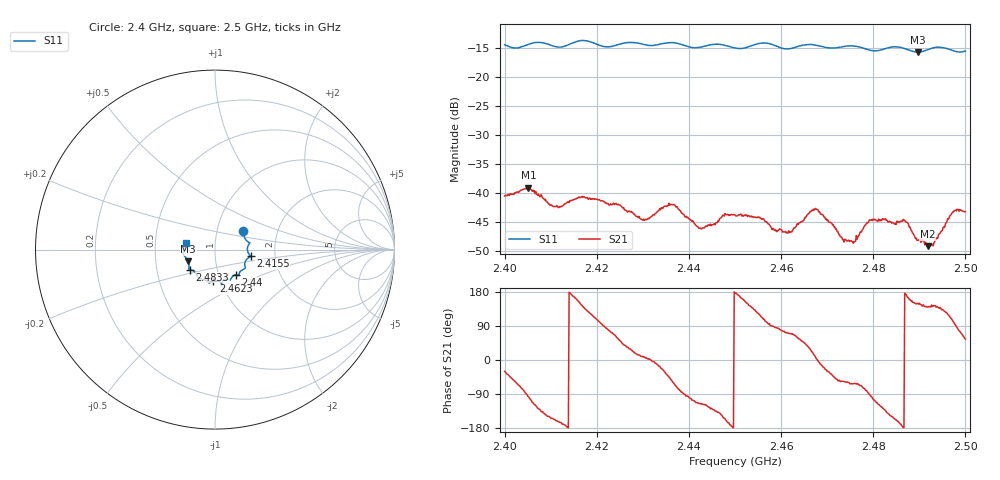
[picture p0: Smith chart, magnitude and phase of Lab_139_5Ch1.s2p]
# Hz S RI R 50
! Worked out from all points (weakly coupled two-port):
!   601 points, 2.4 GHz to 2.5 GHz, reference 50 ohm
!   highest |S21| = -39.07 dB at 2.4052 GHz (marker M1); lowest = -49.1 dB at 2.4918 GHz (marker M2)
!   lowest |S11| = -15.7 dB at 2.4897 GHz (marker M3), VSWR 1.39, Z = 36.7 - j4.95 ohm
!   |S11| at or under -10 dB: start of sweep to end of sweep
!   S12 and S22 are empty: the file has one direction only
!   S11 on the Smith chart (normalised r, x): 2.4 GHz: 1.34, +0.29; 2.4155 GHz: 1.49, -0.11; 2.44 GHz: 1.21, -0.35; 2.4623 GHz: 0.92, -0.34; 2.4833 GHz: 0.74, -0.17; 2.5 GHz: 0.72, +0.05
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2.4e9  0.157 0.1056  0.00818 -0.0047  0 0  0 0
2.405167e9  0.1861 0.0413  -0.00127 -0.0111  0 0  0 0
2.410667e9  0.1828 0.0177  -0.00703 -0.00305  0 0  0 0
2.4155e9  0.1979 -0.0362  -0.00846 0.00286  0 0  0 0
2.416667e9  0.2018 -0.0403  -0.00764 0.00533  0 0  0 0
2.424667e9  0.1661 -0.0918  0.00457 0.0066  0 0  0 0
2.43e9  0.1554 -0.1116  0.00581 0.000828  0 0  0 0
2.433333e9  0.1344 -0.1342  0.0068 -0.00174  0 0  0 0
2.4365e9  0.1339 -0.1449  0.00411 -0.00679  0 0  0 0
2.44e9  0.1155 -0.14  -0.000923 -0.00595  0 0  0 0
2.442833e9  0.0926 -0.1559  -0.0022 -0.00447  0 0  0 0
2.45e9  0.0639 -0.1656  -0.00647 0.000406  0 0  0 0
2.462333e9  -0.00894 -0.1761  0.00171 0.00432  0 0  0 0
2.466667e9  -0.0339 -0.1869  0.00661 0.00259  0 0  0 0
2.475333e9  -0.0918 -0.1608  0.00177 -0.00341  0 0  0 0
2.479167e9  -0.1056 -0.1336  -0.000103 -0.00589  0 0  0 0
2.483333e9  -0.1394 -0.1114  -0.00444 -0.00345  0 0  0 0
2.487e9  -0.1446 -0.0976  -0.00563 0.000633  0 0  0 0
2.489667e9  -0.1497 -0.0656  -0.00338 0.00199  0 0  0 0
2.491833e9  -0.1669 -0.0395  -0.00268 0.00224  0 0  0 0
2.497333e9  -0.1682 -0.00246  -0.00141 0.0068  0 0  0 0
2.5e9  -0.1627 0.037  0.00396 0.00569  0 0  0 0
